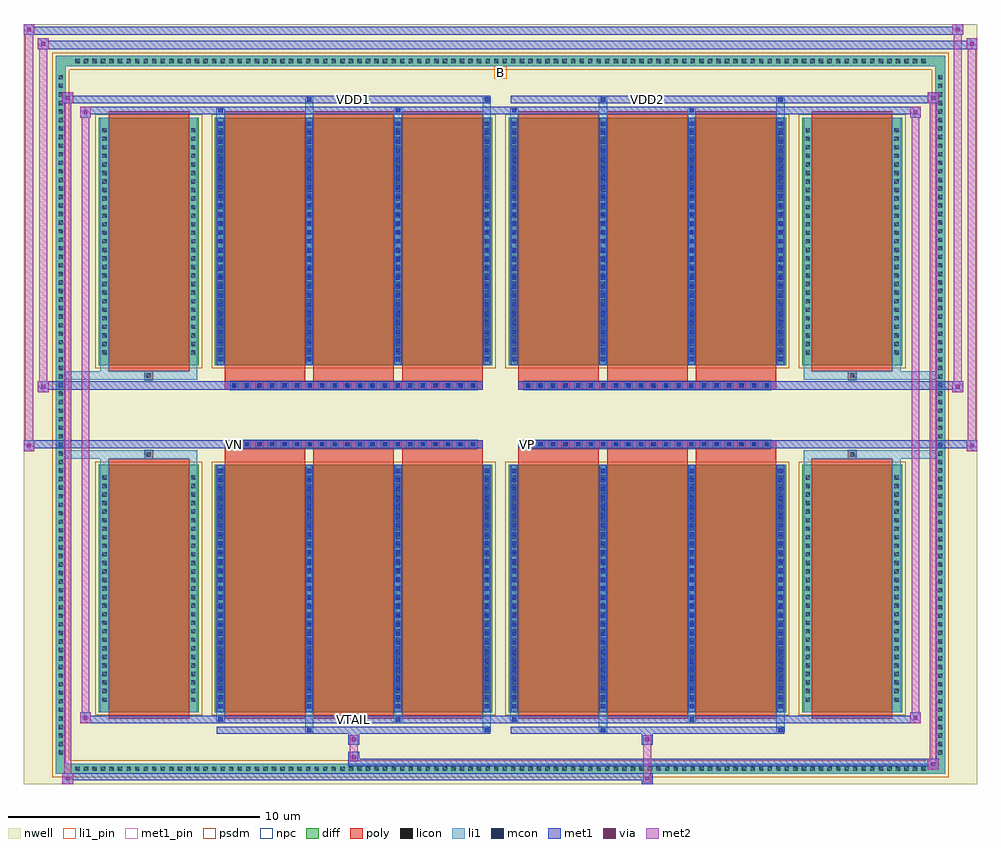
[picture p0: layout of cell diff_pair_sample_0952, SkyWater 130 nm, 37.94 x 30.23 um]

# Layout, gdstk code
import gdstk
lib = gdstk.Library(unit=1e-6, precision=5e-09)
def R(c, l, rs):  # rectangles x0, y0, x1, y1
    for r in rs: c.add(gdstk.rectangle(r[:2], r[2:], *l))
def A(c, l, x, y, w, h, nx, ny, dx, dy):  # array of equal rectangles
    R(c, l, [(x+i*dx, y+j*dy, x+i*dx+w, y+j*dy+h) for i in range(nx) for j in range(ny)])
def P(c, l, *ps):  # polygons
    for p in ps: c.add(gdstk.Polygon(p, *l))
nwell = (64, 20)
diff = (65, 20)
poly = (66, 20)
licon = (66, 44)
li1_pin = (67, 16)
li1 = (67, 20)
mcon = (67, 44)
met1_pin = (68, 16)
met1 = (68, 20)
via = (68, 44)
met2 = (69, 20)
psdm = (94, 20)
npc = (95, 20)

diff_pair_sample_0952 = lib.new_cell('diff_pair_sample_0952')
R(diff_pair_sample_0952, nwell, [(-18.97,-14.68,18.97,15.55), (-16.29,-12.87,-0.01,-0.805), (0.01,-12.87,16.29,-0.805), (-16.29,0.805,-0.01,12.87), (0.01,0.805,16.29,12.87)])
A(diff_pair_sample_0952, diff, -17.035, -14.28, 0.41, 0.41, 100, 2, 0.34, 28.15)
A(diff_pair_sample_0952, diff, -17.7, -13.635, 0.41, 0.41, 1, 80, 0, 0.34)
A(diff_pair_sample_0952, diff, 17.29, -13.635, 0.41, 0.41, 1, 80, 0, 0.34)
R(diff_pair_sample_0952, diff, [(-17.035,-14.28,17.035,-13.87), (-17.7,-13.635,-17.29,13.635), (17.29,-13.635,17.7,13.635), (-15.98,-11.825,-12,-1.985), (-11.36,-11.825,-0.32,-1.985), (0.32,-11.825,11.36,-1.985), (12,-11.825,15.98,-1.985), (-15.98,1.985,-12,11.825), (-11.36,1.985,-0.32,11.825), (0.32,1.985,11.36,11.825), (12,1.985,15.98,11.825), (-17.035,13.87,17.035,14.28)])
P(diff_pair_sample_0952, diff, [(17.7,14.28),(-17.7,14.28),(-17.7,-13.87),(-17.29,-13.87),(-17.29,13.87),(17.29,13.87),(17.29,-13.87),(-17.29,-13.87),(-17.7,-13.87),(-17.7,-14.28),(17.7,-14.28)])
A(diff_pair_sample_0952, poly, -10.97, -12.075, 3.2, 10.34, 3, 2, 3.53, 13.81)
A(diff_pair_sample_0952, poly, 0.71, -12.075, 3.2, 10.34, 3, 2, 3.53, 13.81)
A(diff_pair_sample_0952, poly, -10.97, -1.735, 3.2, 0.4, 3, 2, 3.53, 3.07)
A(diff_pair_sample_0952, poly, 0.71, -1.735, 3.2, 0.4, 3, 2, 3.53, 3.07)
A(diff_pair_sample_0952, poly, -10.755, -1.335, 0.33, 0.33, 20, 2, 0.5, 2.34)
A(diff_pair_sample_0952, poly, 0.925, -1.335, 0.33, 0.33, 20, 2, 0.5, 2.34)
R(diff_pair_sample_0952, poly, [(-15.59,-12.075,-12.39,-1.735), (12.39,-12.075,15.59,-1.735), (-14.155,-1.735,-13.825,-1.405), (-14.155,-1.735,-13.825,-1.405), (13.825,-1.735,14.155,-1.405), (13.825,-1.735,14.155,-1.405), (-10.97,-1.335,-0.71,-1.005), (0.71,-1.335,10.97,-1.005), (-10.97,1.005,-0.71,1.335), (0.71,1.005,10.97,1.335), (-14.155,1.405,-13.825,1.735), (-14.155,1.405,-13.825,1.735), (13.825,1.405,14.155,1.735), (13.825,1.405,14.155,1.735), (-15.59,1.735,-12.39,12.075), (12.39,1.735,15.59,12.075)])
A(diff_pair_sample_0952, licon, -16.915, -14.16, 0.17, 0.17, 100, 2, 0.34, 28.15)
A(diff_pair_sample_0952, licon, -17.58, -13.515, 0.17, 0.17, 1, 80, 0, 0.34)
A(diff_pair_sample_0952, licon, 17.41, -13.515, 0.17, 0.17, 1, 80, 0, 0.34)
A(diff_pair_sample_0952, licon, -15.84, -11.41, 0.17, 0.17, 1, 27, 0, 0.34)
A(diff_pair_sample_0952, licon, -12.31, -11.41, 0.17, 0.17, 1, 27, 0, 0.34)
A(diff_pair_sample_0952, licon, -11.22, -11.41, 0.17, 0.17, 4, 27, 3.53, 0.34)
A(diff_pair_sample_0952, licon, 0.46, -11.41, 0.17, 0.17, 4, 27, 3.53, 0.34)
A(diff_pair_sample_0952, licon, 12.14, -11.41, 0.17, 0.17, 1, 27, 0, 0.34)
A(diff_pair_sample_0952, licon, 15.67, -11.41, 0.17, 0.17, 1, 27, 0, 0.34)
A(diff_pair_sample_0952, licon, -10.675, -1.255, 0.17, 0.17, 20, 2, 0.5, 2.34)
A(diff_pair_sample_0952, licon, 1.005, -1.255, 0.17, 0.17, 20, 2, 0.5, 2.34)
A(diff_pair_sample_0952, licon, -15.84, 2.4, 0.17, 0.17, 1, 27, 0, 0.34)
A(diff_pair_sample_0952, licon, -12.31, 2.4, 0.17, 0.17, 1, 27, 0, 0.34)
A(diff_pair_sample_0952, licon, -11.22, 2.4, 0.17, 0.17, 4, 27, 3.53, 0.34)
A(diff_pair_sample_0952, licon, 0.46, 2.4, 0.17, 0.17, 4, 27, 3.53, 0.34)
A(diff_pair_sample_0952, licon, 12.14, 2.4, 0.17, 0.17, 1, 27, 0, 0.34)
A(diff_pair_sample_0952, licon, 15.67, 2.4, 0.17, 0.17, 1, 27, 0, 0.34)
R(diff_pair_sample_0952, licon, [(-14.075,-1.655,-13.905,-1.485), (13.905,-1.655,14.075,-1.485), (-14.075,1.485,-13.905,1.655), (13.905,1.485,14.075,1.655)])
R(diff_pair_sample_0952, li1_pin, [(-0.25,13.37,0.25,13.87)])
A(diff_pair_sample_0952, li1, -16.995, -14.24, 0.33, 0.33, 100, 2, 0.34, 28.15)
A(diff_pair_sample_0952, li1, -17.66, -13.595, 0.33, 0.33, 1, 80, 0, 0.34)
A(diff_pair_sample_0952, li1, 17.33, -13.595, 0.33, 0.33, 1, 80, 0, 0.34)
A(diff_pair_sample_0952, li1, -11.3, -11.825, 0.33, 9.84, 4, 2, 3.53, 13.81)
A(diff_pair_sample_0952, li1, 0.38, -11.825, 0.33, 9.84, 4, 2, 3.53, 13.81)
A(diff_pair_sample_0952, li1, -11.22, -11.67, 0.17, 0.17, 4, 27, 3.53, 0.36)
A(diff_pair_sample_0952, li1, -11.22, -11.67, 0.17, 9.53, 4, 2, 3.53, 13.81)
A(diff_pair_sample_0952, li1, 0.46, -11.67, 0.17, 0.17, 4, 27, 3.53, 0.36)
A(diff_pair_sample_0952, li1, 0.46, -11.67, 0.17, 9.53, 4, 2, 3.53, 13.81)
A(diff_pair_sample_0952, li1, -15.92, -11.49, 0.33, 0.33, 1, 27, 0, 0.34)
A(diff_pair_sample_0952, li1, -12.39, -11.49, 0.33, 0.33, 1, 27, 0, 0.34)
A(diff_pair_sample_0952, li1, -11.3, -11.49, 0.33, 0.33, 4, 27, 3.53, 0.34)
A(diff_pair_sample_0952, li1, 0.38, -11.49, 0.33, 0.33, 4, 27, 3.53, 0.34)
A(diff_pair_sample_0952, li1, 12.06, -11.49, 0.33, 0.33, 1, 27, 0, 0.34)
A(diff_pair_sample_0952, li1, 15.59, -11.49, 0.33, 0.33, 1, 27, 0, 0.34)
A(diff_pair_sample_0952, li1, -10.755, -1.335, 0.33, 0.33, 20, 2, 0.5, 2.34)
A(diff_pair_sample_0952, li1, 0.925, -1.335, 0.33, 0.33, 20, 2, 0.5, 2.34)
A(diff_pair_sample_0952, li1, -11.22, 2.14, 0.17, 0.17, 4, 27, 3.53, 0.36)
A(diff_pair_sample_0952, li1, 0.46, 2.14, 0.17, 0.17, 4, 27, 3.53, 0.36)
A(diff_pair_sample_0952, li1, -15.92, 2.32, 0.33, 0.33, 1, 27, 0, 0.34)
A(diff_pair_sample_0952, li1, -12.39, 2.32, 0.33, 0.33, 1, 27, 0, 0.34)
A(diff_pair_sample_0952, li1, -11.3, 2.32, 0.33, 0.33, 4, 27, 3.53, 0.34)
A(diff_pair_sample_0952, li1, 0.38, 2.32, 0.33, 0.33, 4, 27, 3.53, 0.34)
A(diff_pair_sample_0952, li1, 12.06, 2.32, 0.33, 0.33, 1, 27, 0, 0.34)
A(diff_pair_sample_0952, li1, 15.59, 2.32, 0.33, 0.33, 1, 27, 0, 0.34)
R(diff_pair_sample_0952, li1, [(-17.7,-14.28,-17.29,-13.87), (-17.7,-14.28,-17.29,-13.87), (-17.29,-14.28,17.29,-13.87), (17.29,-14.28,17.7,-13.87), (17.29,-14.28,17.7,-13.87), (-17.7,-13.87,-17.29,13.87), (17.29,-13.87,17.7,13.87), (-7.77,-12.63,-7.44,-11.825), (-7.69,-12.63,-7.52,-12.46), (-0.71,-12.63,-0.38,-11.825), (-0.63,-12.63,-0.46,-12.46), (3.91,-12.63,4.24,-11.825), (3.99,-12.63,4.16,-12.46), (10.97,-12.63,11.3,-11.825), (11.05,-12.63,11.22,-12.46), (-11.3,-12.2,-10.97,-11.825), (-11.22,-12.2,-11.05,-12.03), (-4.24,-12.2,-3.91,-11.825), (-4.16,-12.2,-3.99,-12.03), (0.38,-12.2,0.71,-11.825), (0.46,-12.2,0.63,-12.03), (7.44,-12.2,7.77,-11.825), (7.52,-12.2,7.69,-12.03), (-15.92,-11.825,-15.59,-1.985), (-12.39,-11.825,-12.06,-1.985), (12.06,-11.825,12.39,-1.985), (15.59,-11.825,15.92,-1.985), (-15.92,-1.985,-15.59,-1.405), (-12.39,-1.985,-12.06,-1.405), (12.06,-1.985,12.39,-1.405), (15.59,-1.985,15.92,-1.405), (-17.7,-1.735,-14.155,-1.405), (-15.92,-1.735,-14.155,-1.405), (-14.155,-1.735,-13.825,-1.405), (-13.825,-1.735,-12.06,-1.405), (12.06,-1.735,13.825,-1.405), (13.825,-1.735,14.155,-1.405), (13.825,-1.735,17.7,-1.405), (14.155,-1.735,15.92,-1.405), (-17.7,1.405,-14.155,1.735), (-15.92,1.405,-14.155,1.735), (-15.92,1.405,-15.59,1.985), (-14.155,1.405,-13.825,1.735), (-13.825,1.405,-12.06,1.735), (-12.39,1.405,-12.06,1.985), (12.06,1.405,13.825,1.735), (12.06,1.405,12.39,1.985), (13.825,1.405,14.155,1.735), (13.825,1.405,17.7,1.735), (14.155,1.405,15.92,1.735), (15.59,1.405,15.92,1.985), (-15.92,1.985,-15.59,11.825), (-12.39,1.985,-12.06,11.825), (12.06,1.985,12.39,11.825), (15.59,1.985,15.92,11.825), (-11.3,11.825,-10.97,12.2), (-7.77,11.825,-7.44,12.63), (-4.24,11.825,-3.91,12.2), (-0.71,11.825,-0.38,12.63), (0.38,11.825,0.71,12.2), (3.91,11.825,4.24,12.63), (7.44,11.825,7.77,12.2), (10.97,11.825,11.3,12.63), (-11.22,12.03,-11.05,12.2), (-4.16,12.03,-3.99,12.2), (0.46,12.03,0.63,12.2), (7.52,12.03,7.69,12.2), (-7.69,12.46,-7.52,12.63), (-0.63,12.46,-0.46,12.63), (3.99,12.46,4.16,12.63), (11.05,12.46,11.22,12.63), (-17.7,13.87,-17.29,14.28), (-17.7,13.87,-17.29,14.28), (-17.29,13.87,17.29,14.28), (17.29,13.87,17.7,14.28), (17.29,13.87,17.7,14.28)])
A(diff_pair_sample_0952, mcon, -11.22, -11.67, 0.17, 0.17, 4, 27, 3.53, 0.36)
A(diff_pair_sample_0952, mcon, 0.46, -11.67, 0.17, 0.17, 4, 27, 3.53, 0.36)
A(diff_pair_sample_0952, mcon, -10.675, -1.255, 0.17, 0.17, 20, 2, 0.5, 2.34)
A(diff_pair_sample_0952, mcon, 1.005, -1.255, 0.17, 0.17, 20, 2, 0.5, 2.34)
A(diff_pair_sample_0952, mcon, -11.22, 2.14, 0.17, 0.17, 4, 27, 3.53, 0.36)
A(diff_pair_sample_0952, mcon, 0.46, 2.14, 0.17, 0.17, 4, 27, 3.53, 0.36)
R(diff_pair_sample_0952, mcon, [(-7.69,-12.63,-7.52,-12.46), (-0.63,-12.63,-0.46,-12.46), (3.99,-12.63,4.16,-12.46), (11.05,-12.63,11.22,-12.46), (-11.22,-12.2,-11.05,-12.03), (-4.16,-12.2,-3.99,-12.03), (0.46,-12.2,0.63,-12.03), (7.52,-12.2,7.69,-12.03), (-11.22,12.03,-11.05,12.2), (-4.16,12.03,-3.99,12.2), (0.46,12.03,0.63,12.2), (7.52,12.03,7.69,12.2), (-7.69,12.46,-7.52,12.63), (-0.63,12.46,-0.46,12.63), (3.99,12.46,4.16,12.63), (11.05,12.46,11.22,12.63)])
R(diff_pair_sample_0952, met1_pin, [(-5.975,-12.24,-5.705,-11.97), (-10.725,-1.295,-10.455,-1.025), (0.955,-1.295,1.225,-1.025), (-5.975,12.42,-5.705,12.69), (5.705,12.42,5.975,12.69)])
A(diff_pair_sample_0952, met1, -11.28, -11.825, 0.29, 9.84, 4, 2, 3.53, 13.81)
A(diff_pair_sample_0952, met1, 0.4, -11.825, 0.29, 9.84, 4, 2, 3.53, 13.81)
A(diff_pair_sample_0952, met1, -11.28, -11.73, 0.29, 0.29, 4, 27, 3.53, 0.36)
A(diff_pair_sample_0952, met1, 0.4, -11.73, 0.29, 0.29, 4, 27, 3.53, 0.36)
A(diff_pair_sample_0952, met1, -10.735, -1.315, 0.29, 0.29, 20, 2, 0.5, 2.34)
A(diff_pair_sample_0952, met1, 0.945, -1.315, 0.29, 0.29, 20, 2, 0.5, 2.34)
A(diff_pair_sample_0952, met1, -11.28, 2.08, 0.29, 0.29, 4, 27, 3.53, 0.36)
A(diff_pair_sample_0952, met1, 0.4, 2.08, 0.29, 0.29, 4, 27, 3.53, 0.36)
R(diff_pair_sample_0952, met1, [(-17.43,-14.68,-17,-14.25), (5.625,-14.68,6.055,-14.25), (-17.43,-14.54,6.055,-14.25), (17,-14.11,17.43,-13.68), (-6.055,-13.97,17.43,-13.68), (-6.055,-13.83,-5.625,-13.4), (-6.055,-13.12,-5.625,-12.69), (5.625,-13.12,6.055,-12.69), (-11.28,-12.69,-0.4,-12.4), (-7.75,-12.69,-7.46,-12.4), (-0.69,-12.69,-0.4,-12.4), (0.4,-12.69,11.28,-12.4), (3.93,-12.69,4.22,-12.4), (10.99,-12.69,11.28,-12.4), (-16.72,-12.26,-16.29,-11.83), (-16.72,-12.26,-11.28,-11.97), (-11.28,-12.26,-10.99,-11.97), (-11.28,-12.26,-0.4,-11.97), (-4.22,-12.26,-3.93,-11.97), (-0.4,-12.26,0.4,-11.97), (0.4,-12.26,0.69,-11.97), (0.4,-12.26,11.28,-11.97), (7.46,-12.26,7.75,-11.97), (11.28,-12.26,16.72,-11.97), (16.29,-12.26,16.72,-11.83), (-18.97,-1.435,-18.54,-1.005), (18.54,-1.435,18.97,-1.005), (-18.97,-1.335,-0.71,-1.005), (-10.97,-1.335,-0.71,-1.005), (0.71,-1.335,10.97,-1.005), (0.71,-1.335,18.97,-1.005), (-18.4,0.905,-17.97,1.335), (17.97,0.905,18.4,1.335), (-18.4,1.005,-10.97,1.335), (-10.97,1.005,-0.71,1.335), (0.71,1.005,10.97,1.335), (10.97,1.005,18.4,1.335), (-16.72,11.83,-16.29,12.26), (16.29,11.83,16.72,12.26), (-16.72,11.97,-11.28,12.26), (-11.28,11.97,-10.99,12.26), (-11.28,11.97,-0.4,12.26), (-4.22,11.97,-3.93,12.26), (-0.4,11.97,0.4,12.26), (0.4,11.97,0.69,12.26), (0.4,11.97,11.28,12.26), (7.46,11.97,7.75,12.26), (11.28,11.97,16.72,12.26), (-17.43,12.4,-17,12.83), (-17.43,12.4,-11.28,12.69), (-11.28,12.4,-0.4,12.69), (-7.75,12.4,-7.46,12.69), (-0.69,12.4,-0.4,12.69), (0.4,12.4,11.28,12.69), (3.93,12.4,4.22,12.69), (10.99,12.4,11.28,12.69), (11.28,12.4,17.43,12.69), (17,12.4,17.43,12.83), (-18.4,14.55,-17.97,14.98), (-18.4,14.55,-16.29,14.88), (-16.29,14.55,16.29,14.88), (16.29,14.55,18.97,14.88), (18.54,14.55,18.97,14.98), (-18.97,15.12,-18.54,15.55), (-18.97,15.12,-16.29,15.45), (-16.29,15.12,16.29,15.45), (16.29,15.12,18.4,15.45), (17.97,15.12,18.4,15.55)])
R(diff_pair_sample_0952, via, [(-17.29,-14.54,-17.14,-14.39), (5.765,-14.54,5.915,-14.39), (17.14,-13.97,17.29,-13.82), (-5.915,-13.69,-5.765,-13.54), (-5.915,-12.98,-5.765,-12.83), (5.765,-12.98,5.915,-12.83), (-16.58,-12.12,-16.43,-11.97), (16.43,-12.12,16.58,-11.97), (-18.83,-1.295,-18.68,-1.145), (18.68,-1.295,18.83,-1.145), (-18.26,1.045,-18.11,1.195), (18.11,1.045,18.26,1.195), (-16.58,11.97,-16.43,12.12), (16.43,11.97,16.58,12.12), (-17.29,12.54,-17.14,12.69), (17.14,12.54,17.29,12.69), (-18.26,14.69,-18.11,14.84), (18.68,14.69,18.83,14.84), (-18.83,15.26,-18.68,15.41), (18.11,15.26,18.26,15.41)])
R(diff_pair_sample_0952, met2, [(-17.43,-14.68,-17,-14.25), (-17.36,-14.68,-17.07,12.83), (-17.07,-14.68,-17,-14.25), (-17.38,-14.63,-17.05,-14.3), (5.675,-14.63,6.005,-14.3), (5.675,-14.3,6.005,-13.07), (17,-14.11,17.43,-13.68), (17.07,-14.11,17.36,12.83), (17.36,-14.11,17.43,-13.68), (17.05,-14.06,17.38,-13.73), (-6.005,-13.78,-5.675,-13.45), (-6.005,-13.45,-5.675,-13.07), (-6.005,-13.07,-5.675,-12.74), (5.675,-13.07,6.005,-12.74), (-16.72,-12.26,-16.29,-11.83), (-16.65,-12.26,-16.36,12.26), (-16.36,-12.26,-16.29,-11.83), (16.29,-12.26,16.72,-11.83), (16.36,-12.26,16.65,12.26), (16.65,-12.26,16.72,-11.83), (-16.67,-12.21,-16.34,-11.88), (16.34,-12.21,16.67,-11.88), (-18.97,-1.435,-18.54,-1.005), (-18.92,-1.435,-18.59,15.55), (-18.59,-1.435,-18.54,-1.005), (18.54,-1.435,18.97,-1.005), (18.59,-1.435,18.92,14.98), (18.92,-1.435,18.97,-1.005), (-18.92,-1.385,-18.59,-1.055), (18.59,-1.385,18.92,-1.055), (-18.4,0.905,-17.97,1.335), (-18.35,0.905,-18.02,14.98), (-18.02,0.905,-17.97,1.335), (17.97,0.905,18.4,1.335), (18.02,0.905,18.35,15.55), (18.35,0.905,18.4,1.335), (-18.35,0.955,-18.02,1.285), (18.02,0.955,18.35,1.285), (-16.72,11.83,-16.29,12.26), (-16.36,11.83,-16.29,12.26), (16.29,11.83,16.72,12.26), (16.65,11.83,16.72,12.26), (-16.67,11.88,-16.34,12.21), (16.34,11.88,16.67,12.21), (-17.43,12.4,-17,12.83), (-17.07,12.4,-17,12.83), (17,12.4,17.43,12.83), (17.36,12.4,17.43,12.83), (-17.38,12.45,-17.05,12.78), (17.05,12.45,17.38,12.78), (-18.4,14.55,-17.97,14.98), (-18.02,14.55,-17.97,14.98), (18.54,14.55,18.97,14.98), (18.92,14.55,18.97,14.98), (-18.35,14.6,-18.02,14.93), (18.59,14.6,18.92,14.93), (-18.97,15.12,-18.54,15.55), (-18.59,15.12,-18.54,15.55), (17.97,15.12,18.4,15.55), (18.35,15.12,18.4,15.55), (-18.92,15.17,-18.59,15.5), (18.02,15.17,18.35,15.5)])
R(diff_pair_sample_0952, psdm, [(-16.11,-11.955,-11.87,-1.855), (-11.49,-11.955,-0.19,-1.855), (0.19,-11.955,11.49,-1.855), (11.87,-11.955,16.11,-1.855), (-16.11,1.855,-11.87,11.955), (-11.49,1.855,-0.19,11.955), (0.19,1.855,11.49,11.955), (11.87,1.855,16.11,11.955)])
P(diff_pair_sample_0952, psdm, [(17.83,14.41),(-17.83,14.41),(-17.83,-13.74),(-17.16,-13.74),(-17.16,13.74),(17.16,13.74),(17.16,-13.74),(-17.16,-13.74),(-17.83,-13.74),(-17.83,-14.41),(17.83,-14.41)])
A(diff_pair_sample_0952, npc, -10.775, -1.355, 0.37, 0.37, 20, 2, 0.5, 2.34)
A(diff_pair_sample_0952, npc, 0.905, -1.355, 0.37, 0.37, 20, 2, 0.5, 2.34)
R(diff_pair_sample_0952, npc, [(-14.175,-1.755,-13.805,-1.385), (13.805,-1.755,14.175,-1.385), (-10.775,-1.355,-9.905,-0.985), (-10.775,-1.355,-9.905,-0.985), (-10.275,-1.355,-9.405,-0.985), (-10.275,-1.355,-9.405,-0.985), (-9.775,-1.355,-8.905,-0.985), (-9.775,-1.355,-8.905,-0.985), (-9.275,-1.355,-8.405,-0.985), (-9.275,-1.355,-8.405,-0.985), (-8.775,-1.355,-7.905,-0.985), (-8.775,-1.355,-7.905,-0.985), (-8.275,-1.355,-7.405,-0.985), (-8.275,-1.355,-7.405,-0.985), (-7.775,-1.355,-6.905,-0.985), (-7.775,-1.355,-6.905,-0.985), (-7.275,-1.355,-6.405,-0.985), (-7.275,-1.355,-6.405,-0.985), (-6.775,-1.355,-5.905,-0.985), (-6.775,-1.355,-5.905,-0.985), (-6.275,-1.355,-5.405,-0.985), (-6.275,-1.355,-5.405,-0.985), (-5.775,-1.355,-4.905,-0.985), (-5.775,-1.355,-4.905,-0.985), (-5.275,-1.355,-4.405,-0.985), (-5.275,-1.355,-4.405,-0.985), (-4.775,-1.355,-3.905,-0.985), (-4.775,-1.355,-3.905,-0.985), (-4.275,-1.355,-3.405,-0.985), (-4.275,-1.355,-3.405,-0.985), (-3.775,-1.355,-2.905,-0.985), (-3.775,-1.355,-2.905,-0.985), (-3.275,-1.355,-2.405,-0.985), (-3.275,-1.355,-2.405,-0.985), (-2.775,-1.355,-1.905,-0.985), (-2.775,-1.355,-1.905,-0.985), (-2.275,-1.355,-1.405,-0.985), (-2.275,-1.355,-1.405,-0.985), (-1.775,-1.355,-0.905,-0.985), (-1.775,-1.355,-0.905,-0.985), (0.905,-1.355,1.775,-0.985), (0.905,-1.355,1.775,-0.985), (1.405,-1.355,2.275,-0.985), (1.405,-1.355,2.275,-0.985), (1.905,-1.355,2.775,-0.985), (1.905,-1.355,2.775,-0.985), (2.405,-1.355,3.275,-0.985), (2.405,-1.355,3.275,-0.985), (2.905,-1.355,3.775,-0.985), (2.905,-1.355,3.775,-0.985), (3.405,-1.355,4.275,-0.985), (3.405,-1.355,4.275,-0.985), (3.905,-1.355,4.775,-0.985), (3.905,-1.355,4.775,-0.985), (4.405,-1.355,5.275,-0.985), (4.405,-1.355,5.275,-0.985), (4.905,-1.355,5.775,-0.985), (4.905,-1.355,5.775,-0.985), (5.405,-1.355,6.275,-0.985), (5.405,-1.355,6.275,-0.985), (5.905,-1.355,6.775,-0.985), (5.905,-1.355,6.775,-0.985), (6.405,-1.355,7.275,-0.985), (6.405,-1.355,7.275,-0.985), (6.905,-1.355,7.775,-0.985), (6.905,-1.355,7.775,-0.985), (7.405,-1.355,8.275,-0.985), (7.405,-1.355,8.275,-0.985), (7.905,-1.355,8.775,-0.985), (7.905,-1.355,8.775,-0.985), (8.405,-1.355,9.275,-0.985), (8.405,-1.355,9.275,-0.985), (8.905,-1.355,9.775,-0.985), (8.905,-1.355,9.775,-0.985), (9.405,-1.355,10.275,-0.985), (9.405,-1.355,10.275,-0.985), (9.905,-1.355,10.775,-0.985), (9.905,-1.355,10.775,-0.985), (-10.775,0.985,-9.905,1.355), (-10.775,0.985,-9.905,1.355), (-10.275,0.985,-9.405,1.355), (-10.275,0.985,-9.405,1.355), (-9.775,0.985,-8.905,1.355), (-9.775,0.985,-8.905,1.355), (-9.275,0.985,-8.405,1.355), (-9.275,0.985,-8.405,1.355), (-8.775,0.985,-7.905,1.355), (-8.775,0.985,-7.905,1.355), (-8.275,0.985,-7.405,1.355), (-8.275,0.985,-7.405,1.355), (-7.775,0.985,-6.905,1.355), (-7.775,0.985,-6.905,1.355), (-7.275,0.985,-6.405,1.355), (-7.275,0.985,-6.405,1.355), (-6.775,0.985,-5.905,1.355), (-6.775,0.985,-5.905,1.355), (-6.275,0.985,-5.405,1.355), (-6.275,0.985,-5.405,1.355), (-5.775,0.985,-4.905,1.355), (-5.775,0.985,-4.905,1.355), (-5.275,0.985,-4.405,1.355), (-5.275,0.985,-4.405,1.355), (-4.775,0.985,-3.905,1.355), (-4.775,0.985,-3.905,1.355), (-4.275,0.985,-3.405,1.355), (-4.275,0.985,-3.405,1.355), (-3.775,0.985,-2.905,1.355), (-3.775,0.985,-2.905,1.355), (-3.275,0.985,-2.405,1.355), (-3.275,0.985,-2.405,1.355), (-2.775,0.985,-1.905,1.355), (-2.775,0.985,-1.905,1.355), (-2.275,0.985,-1.405,1.355), (-2.275,0.985,-1.405,1.355), (-1.775,0.985,-0.905,1.355), (-1.775,0.985,-0.905,1.355), (0.905,0.985,1.775,1.355), (0.905,0.985,1.775,1.355), (1.405,0.985,2.275,1.355), (1.405,0.985,2.275,1.355), (1.905,0.985,2.775,1.355), (1.905,0.985,2.775,1.355), (2.405,0.985,3.275,1.355), (2.405,0.985,3.275,1.355), (2.905,0.985,3.775,1.355), (2.905,0.985,3.775,1.355), (3.405,0.985,4.275,1.355), (3.405,0.985,4.275,1.355), (3.905,0.985,4.775,1.355), (3.905,0.985,4.775,1.355), (4.405,0.985,5.275,1.355), (4.405,0.985,5.275,1.355), (4.905,0.985,5.775,1.355), (4.905,0.985,5.775,1.355), (5.405,0.985,6.275,1.355), (5.405,0.985,6.275,1.355), (5.905,0.985,6.775,1.355), (5.905,0.985,6.775,1.355), (6.405,0.985,7.275,1.355), (6.405,0.985,7.275,1.355), (6.905,0.985,7.775,1.355), (6.905,0.985,7.775,1.355), (7.405,0.985,8.275,1.355), (7.405,0.985,8.275,1.355), (7.905,0.985,8.775,1.355), (7.905,0.985,8.775,1.355), (8.405,0.985,9.275,1.355), (8.405,0.985,9.275,1.355), (8.905,0.985,9.775,1.355), (8.905,0.985,9.775,1.355), (9.405,0.985,10.275,1.355), (9.405,0.985,10.275,1.355), (9.905,0.985,10.775,1.355), (9.905,0.985,10.775,1.355), (-14.175,1.385,-13.805,1.755), (13.805,1.385,14.175,1.755)])
diff_pair_sample_0952.add(gdstk.Label('VTAIL', (-5.84,-12.105), layer=68, texttype=5))
diff_pair_sample_0952.add(gdstk.Label('VN', (-10.59,-1.16), layer=68, texttype=5))
diff_pair_sample_0952.add(gdstk.Label('VP', (1.09,-1.16), layer=68, texttype=5))
diff_pair_sample_0952.add(gdstk.Label('B', (0,13.62), layer=67, texttype=5))
diff_pair_sample_0952.add(gdstk.Label('VDD2', (5.84,12.555), layer=68, texttype=5))
diff_pair_sample_0952.add(gdstk.Label('VDD1', (-5.84,12.555), layer=68, texttype=5))

lib.write_gds('diff_pair_sample_0952.gds')
